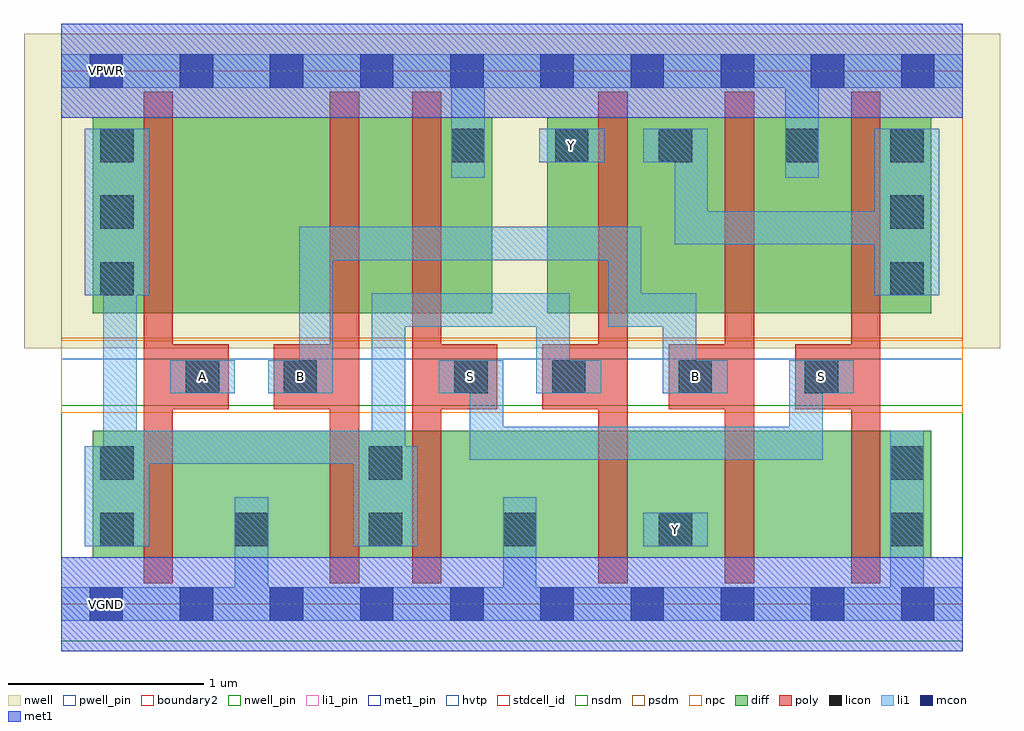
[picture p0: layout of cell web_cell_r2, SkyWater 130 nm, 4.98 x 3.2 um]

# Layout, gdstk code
import gdstk
lib = gdstk.Library(unit=1e-6, precision=1e-09)
def R(c, l, rs):  # rectangles x0, y0, x1, y1
    for r in rs: c.add(gdstk.rectangle(r[:2], r[2:], *l))
def A(c, l, x, y, w, h, nx, ny, dx, dy):  # array of equal rectangles
    R(c, l, [(x+i*dx, y+j*dy, x+i*dx+w, y+j*dy+h) for i in range(nx) for j in range(ny)])
nwell_pin = (64, 16)
nwell = (64, 20)
diff = (65, 20)
poly = (66, 20)
licon = (66, 44)
li1_pin = (67, 16)
li1 = (67, 20)
mcon = (67, 44)
met1_pin = (68, 16)
met1 = (68, 20)
hvtp = (78, 44)
stdcell_id = (81, 4)
nsdm = (93, 44)
psdm = (94, 20)
npc = (95, 20)
pwell_pin = (122, 16)
boundary2 = (236, 0)

web_cell_r2 = lib.new_cell('web_cell_r2')
R(web_cell_r2, nwell_pin, [(0.145,2.635,0.315,2.805)])
R(web_cell_r2, nwell, [(-0.19,1.305,4.79,2.91)])
R(web_cell_r2, diff, [(0.16,0.235,0.97,0.885), (0.97,0.235,1.655,0.885), (1.655,0.235,2.34,0.885), (2.34,0.235,3.135,0.885), (3.135,0.235,3.78,0.885), (3.78,0.235,4.44,0.885), (0.16,1.485,0.97,2.485), (0.97,1.485,1.655,2.485), (1.655,1.485,2.2,2.485), (2.48,1.485,3.135,2.485), (3.135,1.485,3.78,2.485), (3.78,1.485,4.44,2.485)])
A(web_cell_r2, poly, 2.74, 0.105, 0.15, 2.51, 3, 1, 0.645, 0)
A(web_cell_r2, poly, 2.455, 0.995, 0.435, 0.33, 3, 1, 0.645, 0)
R(web_cell_r2, poly, [(0.42,0.105,0.57,2.615), (1.37,0.105,1.52,2.615), (1.79,0.105,1.94,2.615), (0.42,0.995,0.855,1.325), (1.085,0.995,1.52,1.325), (1.79,0.995,2.225,1.325)])
A(web_cell_r2, licon, 0.2, 0.295, 0.17, 0.17, 4, 1, 0.685, 0)
A(web_cell_r2, licon, 2.505, 1.075, 0.17, 0.17, 3, 1, 0.645, 0)
A(web_cell_r2, licon, 0.2, 1.575, 0.17, 0.17, 1, 3, 0, 0.34)
A(web_cell_r2, licon, 4.23, 1.575, 0.17, 0.17, 1, 3, 0, 0.34)
A(web_cell_r2, licon, 1.99, 2.255, 0.17, 0.17, 3, 1, 0.53, 0)
R(web_cell_r2, licon, [(3.05,0.295,3.22,0.465), (4.23,0.295,4.4,0.465), (0.2,0.635,0.37,0.805), (1.57,0.635,1.74,0.805), (4.23,0.635,4.4,0.805), (0.635,1.075,0.805,1.245), (1.135,1.075,1.305,1.245), (2.005,1.075,2.175,1.245), (3.695,2.255,3.865,2.425)])
R(web_cell_r2, li1_pin, [(3.05,0.295,3.22,0.465), (0.635,1.075,0.805,1.245), (1.135,1.075,1.305,1.245), (2.005,1.075,2.175,1.245), (3.15,1.075,3.32,1.245), (3.795,1.075,3.965,1.245), (2.52,2.255,2.69,2.425)])
A(web_cell_r2, li1, 2.425, 1.075, 0.33, 0.17, 3, 1, 0.645, 0)
R(web_cell_r2, li1, [(0,-0.085,4.6,0.085), (0.885,-0.085,1.055,0.545), (2.255,-0.085,2.425,0.545), (4.23,-0.085,4.4,0.545), (0.12,0.295,0.45,0.465), (0.12,0.295,0.45,0.805), (0.28,0.295,0.45,0.885), (1.49,0.295,1.82,0.465), (1.49,0.295,1.82,0.805), (1.585,0.295,1.755,1.585), (2.97,0.295,3.3,0.465), (4.23,0.295,4.4,0.885), (0.215,0.715,0.45,0.885), (0.215,0.715,0.385,2.425), (0.28,0.715,1.755,0.885), (2.085,0.735,2.255,1.245), (2.085,0.735,3.885,0.905), (3.715,0.735,3.885,1.245), (0.555,1.075,0.885,1.245), (1.055,1.075,1.385,1.245), (1.215,1.075,1.385,1.925), (1.925,1.075,2.255,1.245), (2.425,1.075,2.595,1.585), (3.07,1.075,3.24,1.585), (1.585,1.415,2.595,1.585), (2.79,1.415,2.96,1.925), (2.79,1.415,3.24,1.585), (2.96,1.415,3.07,1.585), (2.96,1.415,3.07,1.585), (2.96,1.415,3.07,1.585), (2.96,1.415,3.07,1.585), (0.12,1.575,0.45,2.085), (4.15,1.575,4.48,2.085), (1.215,1.755,2.96,1.925), (3.13,1.835,3.3,2.425), (3.13,1.835,4.32,2.005), (4.15,1.835,4.32,2.425), (0.12,1.915,0.45,2.425), (4.15,1.915,4.48,2.425), (1.99,2.175,2.16,2.805), (3.695,2.175,3.865,2.805), (0.12,2.255,0.45,2.425), (2.44,2.255,2.77,2.425), (2.97,2.255,3.3,2.425), (4.15,2.255,4.48,2.425), (0,2.635,4.6,2.805)])
A(web_cell_r2, mcon, 0.145, -0.085, 0.17, 0.17, 10, 2, 0.46, 2.72)
R(web_cell_r2, met1_pin, [(0.145,-0.085,0.315,0.085), (0.145,2.635,0.315,2.805)])
R(web_cell_r2, met1, [(0,-0.24,4.6,0.24), (0,2.48,4.6,2.96)])
R(web_cell_r2, hvtp, [(0,1.25,4.6,2.72)])
R(web_cell_r2, stdcell_id, [(0,0,4.6,2.72)])
R(web_cell_r2, nsdm, [(0,-0.19,4.6,1.015)])
R(web_cell_r2, psdm, [(0,1.355,4.6,2.91)])
R(web_cell_r2, npc, [(0,0.975,4.6,1.345)])
R(web_cell_r2, pwell_pin, [(0.145,-0.085,0.315,0.085)])
R(web_cell_r2, boundary2, [(0,0,4.6,2.72)])
web_cell_r2.add(gdstk.Label('A', (0.72,1.16), layer=67, texttype=5))
web_cell_r2.add(gdstk.Label('B', (1.22,1.16), layer=67, texttype=5))
web_cell_r2.add(gdstk.Label('B', (3.235,1.16), layer=67, texttype=5))
web_cell_r2.add(gdstk.Label('S', (2.09,1.16), layer=67, texttype=5))
web_cell_r2.add(gdstk.Label('S', (3.88,1.16), layer=67, texttype=5))
web_cell_r2.add(gdstk.Label('Y', (3.135,0.38), layer=67, texttype=5))
web_cell_r2.add(gdstk.Label('Y', (2.605,2.34), layer=67, texttype=5))
web_cell_r2.add(gdstk.Label('VGND', (0.23,0), layer=68, texttype=5))
web_cell_r2.add(gdstk.Label('VPWR', (0.23,2.72), layer=68, texttype=5))
web_cell_r2.add(gdstk.Label('VPB', (0.23,2.72), layer=64, texttype=5))
web_cell_r2.add(gdstk.Label('VNB', (0.23,0), layer=64, texttype=59))

lib.write_gds('web_cell_r2.gds')
